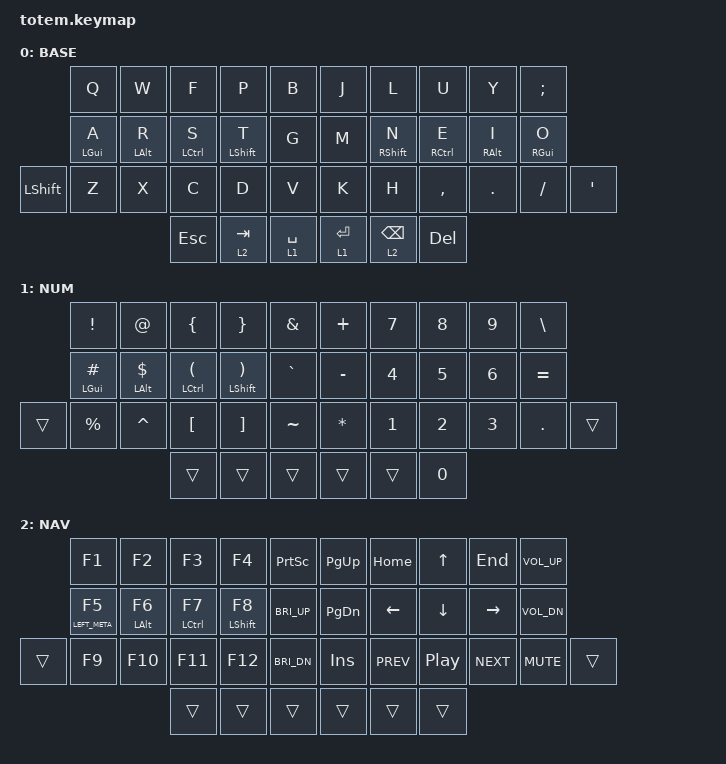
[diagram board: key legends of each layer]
//
//                                                        ▀▀▀▀▀     ▀▀▀▀▀          ▀▀█▀▀
//                                                        ▄▀▀▀▄  ▄  ▄▀▀▀▄  ▄  ▄▀▀▀▄  █  ▄▀▀▀▄
//                                                        █   █  █  █   █  █  █   █  █  █   █
//                                                         ▀▀▀   █   ▀▀▀   █   ▀▀▀   ▀   ▀▀▀
//                                                               █      ▄▄▄█▄▄▄    █   █
//                                                               ▀      █  █  █     █▄█
//                                                             ▀▀▀▀▀    █  █  █      ▀
//                                                                      ▀  ▀  ▀
//
// ▄▄▄▄▄▄▄▄▄▄▄▄▄▄▄▄▄▄▄▄▄▄▄▄▄▄▄▄▄▄▄▄▄▄▄▄▄▄▄▄▄▄▄▄▄▄▄▄▄▄▄▄▄▄▄▄▄▄▄▄▄▄▄▄▄▄▄▄▄▄▄▄▄▄▄▄▄▄▄▄▄▄▄▄▄▄▄▄▄▄▄▄▄▄▄▄▄▄▄▄▄▄▄▄▄▄▄▄▄▄▄▄▄▄▄▄▄▄▄▄▄▄▄▄▄▄▄▄▄▄▄▄▄▄▄▄▄▄▄▄▄▄▄▄▄▄▄▄▄


#include <behaviors.dtsi>
#include <dt-bindings/zmk/keys.h>
#include <dt-bindings/zmk/bt.h>
#include <dt-bindings/zmk/outputs.h>

#define BASE 0
#define NUM  1
#define NAV  2

/ {

    behaviors {
      // Home-row mods. require-prior-idle-ms is the knob that stops
      // fast-rolling typos from firing modifiers.

      hm: homerow_mods {
          compatible = "zmk,behavior-hold-tap";
          #binding-cells = <2>;
          flavor = "balanced";
          tapping-term-ms = <200>;
          quick-tap-ms = <175>;
          require-prior-idle-ms = <125>;
          bindings = <&kp>, <&kp>;
      };

      hlt: hold_layer_tap  {
            compatible = "zmk,behavior-hold-tap";
            #binding-cells = <2>;
            flavor = "tap-preferred";
            tapping-term-ms = <200>;
            quick-tap-ms = <175>;
            bindings = <&mo>, <&kp>;
      };
    };

    keymap {
        compatible = "zmk,keymap";
// ▄▄▄▄▄▄▄▄▄▄▄▄▄▄▄▄▄▄▄▄▄▄▄▄▄▄▄▄▄▄▄▄▄▄▄▄▄▄▄▄▄▄▄▄▄▄▄▄▄▄▄▄▄▄▄▄▄▄▄▄▄▄▄▄▄▄▄▄▄▄▄▄▄▄▄▄▄▄▄▄▄▄▄▄▄▄▄▄▄▄▄▄▄▄▄▄▄▄▄▄▄▄▄▄▄▄▄▄▄▄▄▄▄▄▄▄▄▄▄▄▄▄▄▄▄▄▄▄▄▄▄▄▄▄▄▄▄▄▄▄▄▄▄▄▄▄▄▄▄

                base_layer {
// ┏━━━━━━━━━━━━━━━━━━━━━━━━━━━━━━━━━━━━━━━┓
                label= "BASE"              ;
// ┗━━━━━━━━━━━━━━━━━━━━━━━━━━━━━━━━━━━━━━━┛
//             ┏━━━━━━━━━━━┳━━━━━━━━━━━┳━━━━━━━━━━━┳━━━━━━━━━━━┳━━━━━━━━━━━┓   ┏━━━━━━━━━━━┳━━━━━━━━━━━┳━━━━━━━━━━━┳━━━━━━━━━━━┳━━━━━━━━━━━┓
//             ┃     Q     ┃     W     ┃     F     ┃     P     ┃     B     ┃   ┃     J     ┃     L     ┃     U     ┃     Y     ┃     ;     ┃
//             ┣━━━━━━━━━━━╋━━━━━━━━━━━╋━━━━━━━━━━━╋━━━━━━━━━━━╋━━━━━━━━━━━┫   ┣━━━━━━━━━━━╋━━━━━━━━━━━╋━━━━━━━━━━━╋━━━━━━━━━━━╋━━━━━━━━━━━┫
//             ┃     A     ┃     R     ┃     S     ┃     T     ┃     D     ┃   ┃     M     ┃     N     ┃     E     ┃     I     ┃     O     ┃
// ┏━━━━━━━━━━━╋━━━━━━━━━━━╋━━━━━━━━━━━╋━━━━━━━━━━━╋━━━━━━━━━━━╋━━━━━━━━━━━┫   ┣━━━━━━━━━━━╋━━━━━━━━━━━╋━━━━━━━━━━━╋━━━━━━━━━━━╋━━━━━━━━━━━╋━━━━━━━━━━━┓
// ┃   SHIFT   ┃     Z     ┃     X     ┃     C     ┃     V     ┃     B     ┃   ┃     K     ┃     H     ┃     ,     ┃     .     ┃     /     ┃     '     ┃
// ┗━━━━━━━━━━━┻━━━━━━━━━━━┻━━━━━━━━━━━╋━━━━━━━━━━━╋━━━━━━━━━━━╋━━━━━━━━━━━┫   ┣━━━━━━━━━━━╋━━━━━━━━━━━╋━━━━━━━━━━━╋━━━━━━━━━━━┻━━━━━━━━━━━┻━━━━━━━━━━━┛
//                                     ┃    DEL    ┃    TAB    ┃    SPC    ┃   ┃   ENTER   ┃           ┃   BSPC    ┃
//                                     ┗━━━━━━━━━━━┻━━━━━━━━━━━┻━━━━━━━━━━━┛   ┗━━━━━━━━━━━┻━━━━━━━━━━━┻━━━━━━━━━━━┛
 bindings = <
// ╷           ╷           ╷           ╷           ╷           ╷           ╷   ╷           ╷           ╷           ╷           ╷           ╷           ╷

                &kp Q       &kp W       &kp F        &kp P       &kp B           &kp J      &kp L        &kp U       &kp Y      &kp SEMI
                &hm LGUI A  &hm LALT R  &hm LCTRL S  &hm LSHFT T &kp G           &kp M      &hm RSHFT N  &hm RCTRL E &hm RALT I &hm RGUI O
    &kp LSHFT   &kp Z       &kp X       &kp C        &kp D       &kp V           &kp K      &kp H        &kp COMMA   &kp DOT    &kp FSLH    &kp SQT
                                        &kp ESC      &lt 2 TAB   &hlt 1 SPACE    &lt 1 RET  &hlt 2 BSPC  &kp DEL
                        >;
                };

// ▄▄▄▄▄▄▄▄▄▄▄▄▄▄▄▄▄▄▄▄▄▄▄▄▄▄▄▄▄▄▄▄▄▄▄▄▄▄▄▄▄▄▄▄▄▄▄▄▄▄▄▄▄▄▄▄▄▄▄▄▄▄▄▄▄▄▄▄▄▄▄▄▄▄▄▄▄▄▄▄▄▄▄▄▄▄▄▄▄▄▄▄▄▄▄▄▄▄▄▄▄▄▄▄▄▄▄▄▄▄▄▄▄▄▄▄▄▄▄▄▄▄▄▄▄▄▄▄▄▄▄▄▄▄▄▄▄▄▄▄▄▄▄▄▄▄▄▄▄


                num_layer {
// ┏━━━━━━━━━━━━━━━━━━━━━━━━━━━━━━━━━━━━━━━┓
                 label= "NUM"              ;
// ┗━━━━━━━━━━━━━━━━━━━━━━━━━━━━━━━━━━━━━━━┛
//             ┏━━━━━━━━━━━┳━━━━━━━━━━━┳━━━━━━━━━━━┳━━━━━━━━━━━┳━━━━━━━━━━━┓   ┏━━━━━━━━━━━┳━━━━━━━━━━━┳━━━━━━━━━━━┳━━━━━━━━━━━┳━━━━━━━━━━━┓
//             ┃           ┃           ┃     UP    ┃           ┃     {     ┃   ┃     }     ┃     7     ┃     8     ┃     9     ┃     +     ┃
//             ┣━━━━━━━━━━━╋━━━━━━━━━━━╋━━━━━━━━━━━╋━━━━━━━━━━━╋━━━━━━━━━━━┫   ┣━━━━━━━━━━━╋━━━━━━━━━━━╋━━━━━━━━━━━╋━━━━━━━━━━━╋━━━━━━━━━━━┫
//             ┃   SHIFT   ┃   LEFT    ┃    DOWN   ┃   RIGHT   ┃     [     ┃   ┃     ]     ┃     4     ┃     5     ┃     6     ┃     -     ┃
// ┏━━━━━━━━━━━╋━━━━━━━━━━━╋━━━━━━━━━━━╋━━━━━━━━━━━╋━━━━━━━━━━━╋━━━━━━━━━━━┫   ┣━━━━━━━━━━━╋━━━━━━━━━━━╋━━━━━━━━━━━╋━━━━━━━━━━━╋━━━━━━━━━━━╋━━━━━━━━━━━┓
// ┃           ┃           ┃   P UP    ┃  C LOCK   ┃  P DOWN   ┃     (     ┃   ┃     )     ┃     1     ┃     2     ┃     3     ┃     *     ┃           ┃
// ┗━━━━━━━━━━━┻━━━━━━━━━━━┻━━━━━━━━━━━╋━━━━━━━━━━━╋━━━━━━━━━━━╋━━━━━━━━━━━┫   ┣━━━━━━━━━━━╋━━━━━━━━━━━╋━━━━━━━━━━━╋━━━━━━━━━━━┻━━━━━━━━━━━┻━━━━━━━━━━━┛
//                                     ┃           ┃    TAB    ┃    SPC    ┃   ┃    DEL    ┃     0     ┃           ┃
//                                     ┗━━━━━━━━━━━┻━━━━━━━━━━━┻━━━━━━━━━━━┛   ┗━━━━━━━━━━━┻━━━━━━━━━━━┻━━━━━━━━━━━┛
 bindings = <
// ╷           ╷           ╷           ╷           ╷           ╷           ╷   ╷           ╷           ╷           ╷           ╷           ╷           ╷

                &kp EXCL    &kp AT      &kp LBRC    &kp RBRC    &kp AMPS        &kp PLUS    &kp N7      &kp N8      &kp N9      &kp BSLH
     &hm LGUI HASH &hm LALT DLLR &hm LCTRL LPAR &hm LSHIFT RPAR &kp GRAVE       &kp MINUS   &kp N4      &kp N5      &kp N6      &kp EQUAL
    &trans      &kp PERCENT &kp CARET   &kp LBKT    &kp RBKT    &kp TILDE       &kp ASTRK   &kp N1      &kp N2      &kp N3      &kp DOT     &trans
                                        &trans      &trans      &trans          &trans      &trans      &kp N0
                        >;
                };

// ▄▄▄▄▄▄▄▄▄▄▄▄▄▄▄▄▄▄▄▄▄▄▄▄▄▄▄▄▄▄▄▄▄▄▄▄▄▄▄▄▄▄▄▄▄▄▄▄▄▄▄▄▄▄▄▄▄▄▄▄▄▄▄▄▄▄▄▄▄▄▄▄▄▄▄▄▄▄▄▄▄▄▄▄▄▄▄▄▄▄▄▄▄▄▄▄▄▄▄▄▄▄▄▄▄▄▄▄▄▄▄▄▄▄▄▄▄▄▄▄▄▄▄▄▄▄▄▄▄▄▄▄▄▄▄▄▄▄▄▄▄▄▄▄▄▄▄▄▄


                nav_layer {
// ┏━━━━━━━━━━━━━━━━━━━━━━━━━━━━━━━━━━━━━━━┓
                label= "NAV"               ;
// ┗━━━━━━━━━━━━━━━━━━━━━━━━━━━━━━━━━━━━━━━┛
//             ┏━━━━━━━━━━━┳━━━━━━━━━━━┳━━━━━━━━━━━┳━━━━━━━━━━━┳━━━━━━━━━━━┓   ┏━━━━━━━━━━━┳━━━━━━━━━━━┳━━━━━━━━━━━┳━━━━━━━━━━━┳━━━━━━━━━━━┓
//             ┃     !     ┃     @     ┃     #     ┃     $     ┃     %     ┃   ┃     ˆ     ┃     &     ┃     Ü     ┃     '     ┃     "     ┃
//             ┣━━━━━━━━━━━╋━━━━━━━━━━━╋━━━━━━━━━━━╋━━━━━━━━━━━╋━━━━━━━━━━━┫   ┣━━━━━━━━━━━╋━━━━━━━━━━━╋━━━━━━━━━━━╋━━━━━━━━━━━╋━━━━━━━━━━━┫
//             ┃     Ä     ┃           ┃    SZ     ┃           ┃           ┃   ┃   MUTE    ┃   YEN     ┃   EURO    ┃  POUND    ┃     Ö     ┃
// ┏━━━━━━━━━━━╋━━━━━━━━━━━╋━━━━━━━━━━━╋━━━━━━━━━━━╋━━━━━━━━━━━╋━━━━━━━━━━━┫   ┣━━━━━━━━━━━╋━━━━━━━━━━━╋━━━━━━━━━━━╋━━━━━━━━━━━╋━━━━━━━━━━━╋━━━━━━━━━━━┓
// ┃           ┃  EMAIL1   ┃  EMAIL2   ┃           ┃           ┃           ┃   ┃   VOL-    ┃   VOL+    ┃   LAST    ┃   NEXT    ┃     \     ┃           ┃
// ┗━━━━━━━━━━━┻━━━━━━━━━━━┻━━━━━━━━━━━╋━━━━━━━━━━━╋━━━━━━━━━━━╋━━━━━━━━━━━┫   ┣━━━━━━━━━━━╋━━━━━━━━━━━╋━━━━━━━━━━━╋━━━━━━━━━━━┻━━━━━━━━━━━┻━━━━━━━━━━━┛
//                                     ┃           ┃    GIF    ┃    ADJ    ┃   ┃           ┃           ┃           ┃
//                                     ┗━━━━━━━━━━━┻━━━━━━━━━━━┻━━━━━━━━━━━┛   ┗━━━━━━━━━━━┻━━━━━━━━━━━┻━━━━━━━━━━━┛
 bindings = <
// ╷           ╷           ╷           ╷           ╷           ╷           ╷   ╷           ╷           ╷           ╷           ╷           ╷           ╷

                &kp F1      &kp F2      &kp F3      &kp F4      &kp PSCRN       &kp PG_UP   &kp HOME    &kp UP      &kp END     &kp C_VOL_UP
&hm LEFT_META F5  &hm LEFT_ALT F6  &hm LCTRL F7  &hm LEFT_SHIFT F8 &kp C_BRI_UP &kp PG_DN   &kp LEFT    &kp DOWN    &kp RIGHT   &kp C_VOL_DN
    &trans      &kp F9      &kp F10     &kp F11     &kp F12     &kp C_BRI_DN    &kp INS     &kp C_PREV  &kp C_PP    &kp C_NEXT  &kp C_MUTE  &trans
                                        &trans      &trans      &trans          &trans      &trans      &trans
                        >;
                };
       };
};
